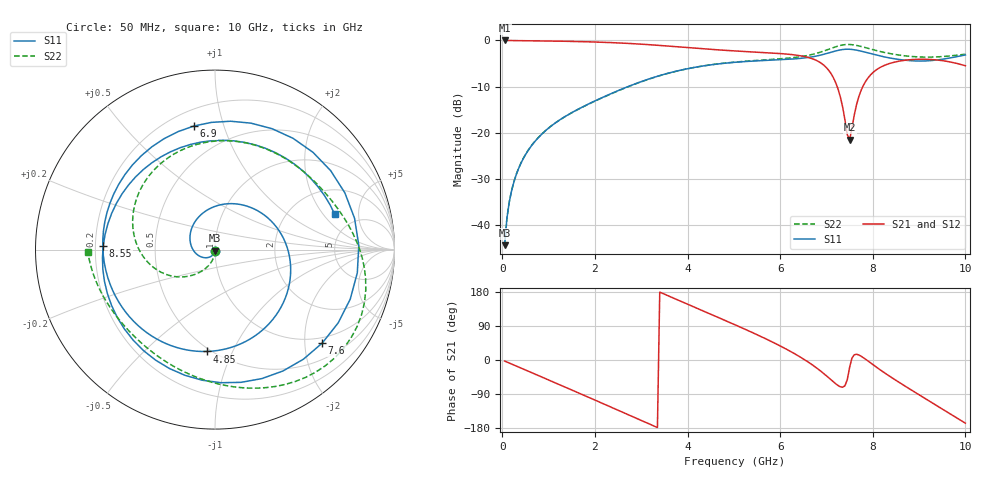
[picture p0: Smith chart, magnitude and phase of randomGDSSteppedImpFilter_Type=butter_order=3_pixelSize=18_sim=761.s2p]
! freq	dB(S11)	phase(S11)	dB(S12)	phase(S12)
!  dB(S21)	phase(S21)	dB(S22)	phase(S22)
!S-par simulation data
#  GHz  S  DB  R 50
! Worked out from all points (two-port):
!   200 points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, 50 MHz to 10 GHz, reference 50 ohm
!   highest |S21| = 0.00 dB at 50 MHz (marker M1); lowest = -21.5 dB at 7.5 GHz (marker M2)
!   |S21| within 3 dB of the highest: start of sweep to 6.193 GHz
!   lowest |S11| = -44.4 dB at 50 MHz (marker M3), VSWR 1.01, Z = 50 - j0.599 ohm
!   |S11| at or under -10 dB: start of sweep to 2.717 GHz
!   |S22| runs from -44.6 to -0.9 dB; largest |S21 - S12| = 0
!   S11 on the Smith chart (normalised r, x): 50 MHz: 1.00, -0.01; 4.85 GHz: 0.48, -0.80; 6.9 GHz: 0.30, +0.80; 7.6 GHz: 0.86, -2.40; 8.55 GHz: 0.23, +0.02; 10 GHz: 3.47, +2.63
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0.05  -44.44 -92.1  -0.00 -2.7  -0.00 -2.7  -44.62 -87.1
0.2  -32.63 -105.6  -0.02 -10.6  -0.02 -10.6  -32.57 -94.8
0.5  -24.79 -130.5  -0.05 -26.4  -0.05 -26.4  -24.74 -103.1
1.15  -17.86 175.9  -0.14 -60.6  -0.14 -60.6  -17.85 -119.0
1.75  -14.34 125.0  -0.27 -92.4  -0.27 -92.4  -14.37 -131.6
2.65  -10.27 50.4  -0.61 -140.6  -0.61 -140.6  -10.31 -153.0
3.4  -7.62 -5.0  -1.08 179.1  -1.08 179.1  -7.64 -177.8
4.15  -5.84 -53.4  -1.67 139.3  -1.67 139.3  -5.85 151.6
4.85  -4.90 -94.4  -2.17 102.4  -2.17 102.4  -4.86 119.3
5.05  -4.72 -105.9  -2.29 91.6  -2.29 91.6  -4.67 109.5
6.1  -4.14 -173.1  -2.92 30.8  -2.92 30.8  -3.91 54.8
6.7  -3.54 128.0  -3.99 -13.3  -3.99 -13.3  -3.02 22.3
6.9  -3.12 99.7  -5.03 -31.7  -5.03 -31.7  -2.44 10.5
7.2  -2.28 44.8  -9.17 -62.7  -9.17 -62.7  -1.36 -10.9
7.35  -1.97 12.7  -14.47 -71.9  -14.47 -71.9  -0.98 -23.9
7.5  -1.91 -20.1  -21.51 -19.5  -21.51 -19.5  -0.88 -37.6
7.6  -2.02 -41.1  -16.19 13.8  -16.19 13.8  -0.99 -46.4
7.9  -2.72 -95.6  -8.10 -2.9  -8.10 -2.9  -1.72 -69.6
8.35  -3.77 -157.8  -5.04 -41.7  -5.04 -41.7  -2.81 -96.4
8.55  -4.11 178.2  -4.53 -57.6  -4.53 -57.6  -3.15 -106.8
9.3  -4.33 91.6  -4.16 -114.4  -4.16 -114.4  -3.60 -142.6
10  -3.15 16.3  -5.49 -166.7  -5.49 -166.7  -2.99 -179.0
